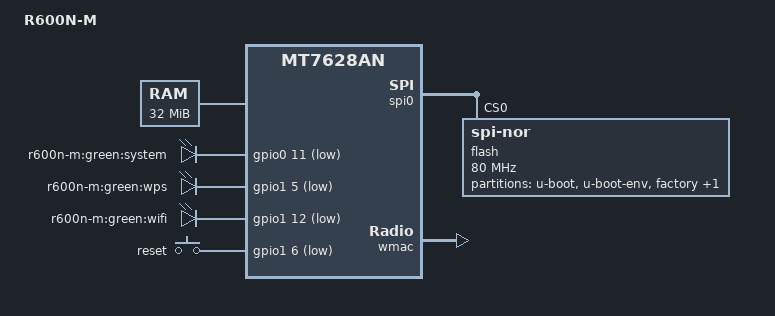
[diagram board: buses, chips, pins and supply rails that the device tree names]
/dts-v1/;

#include "mt7628an.dtsi"

#include <dt-bindings/gpio/gpio.h>
#include <dt-bindings/input/input.h>

/ {
	compatible = "r600n-m", "mediatek,mt7628an-soc";
	model = "R600N-M";

	aliases {
		led-boot = &led_system;
		led-failsafe = &led_system;
		led-running = &led_system;
		led-upgrade = &led_system;
	};

	memory@0 {
		device_type = "memory";
		reg = <0x0 0x2000000>;
	};

	leds {
		compatible = "gpio-leds";

		led_system: system {
			label = "r600n-m:green:system";
			gpios = <&gpio0 11 GPIO_ACTIVE_LOW>;
			/* LOW: Green, HIGH: Amber, Other: Off */
		};

		wps {
			label = "r600n-m:green:wps";
			gpios = <&gpio1 5 GPIO_ACTIVE_LOW>;
		};

		wifi {
			label = "r600n-m:green:wifi";
			gpios = <&gpio1 12 GPIO_ACTIVE_LOW>;
			linux,default-trigger = "phy0tpt";
		};
	};

	keys {
		compatible = "gpio-keys";

		reset {
			label = "reset";
			gpios = <&gpio1 6 GPIO_ACTIVE_LOW>;
			linux,code = <KEY_RESTART>;
		};
	};
};

&pinctrl {
	state_default: pinctrl0 {
		gpio {
			ralink,group = "refclk", "wdt", "wled_an";
			ralink,function = "gpio";
		};
	};
};

&spi0 {
	status = "okay";

	flash@0 {
		compatible = "jedec,spi-nor";
		reg = <0>;
		spi-max-frequency = <80000000>;
		m25p,fast-read;

		partitions {
			compatible = "fixed-partitions";
			#address-cells = <1>;
			#size-cells = <1>;

			partition@0 {
				label = "u-boot";
				reg = <0x0 0x30000>;
				read-only;
			};

			partition@30000 {
				label = "u-boot-env";
				reg = <0x30000 0x10000>;
				read-only;
			};

			factory: partition@40000 {
				label = "factory";
				reg = <0x40000 0x10000>;
				read-only;
			};

			partition@50000 {
				compatible = "denx,uimage";
				label = "firmware";
				reg = <0x50000 0x3b0000>;
			};
		};
	};
};

&ethernet {
	mtd-mac-address = <&factory 0x4>;
};

&wmac {
	status = "okay";
};
